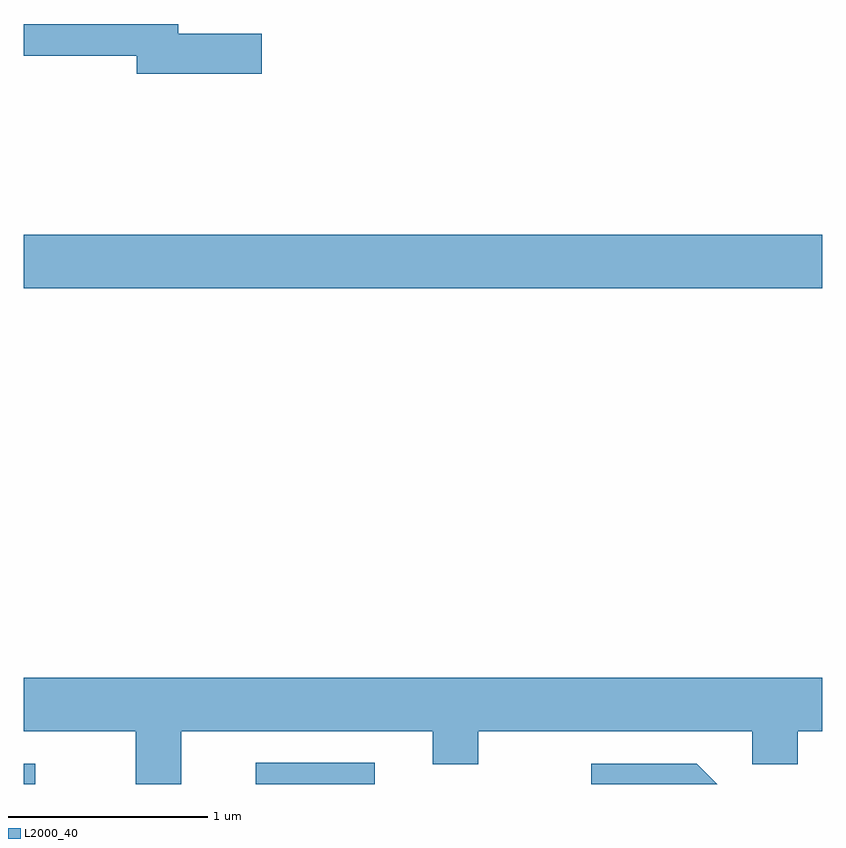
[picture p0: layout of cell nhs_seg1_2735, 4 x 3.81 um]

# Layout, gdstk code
import gdstk
lib = gdstk.Library(unit=1e-6, precision=1e-09)
def R(c, l, rs):  # rectangles x0, y0, x1, y1
    for r in rs: c.add(gdstk.rectangle(r[:2], r[2:], *l))
def P(c, l, *ps):  # polygons
    for p in ps: c.add(gdstk.Polygon(p, *l))
L2000_40 = (2000, 40)

nhs_seg1_2735 = lib.new_cell('nhs_seg1_2735')
R(nhs_seg1_2735, L2000_40, [(267.611,943.712,267.669,943.814), (268.773,943.712,269.369,943.819), (267.611,946.196,271.611,946.464)])
P(nhs_seg1_2735, L2000_40, [(268.804,947.469),(268.384,947.469),(268.384,947.519),(267.611,947.519),(267.611,947.361),(268.176,947.361),(268.176,947.271),(268.804,947.271)],
  [(268.399,943.976),(269.661,943.976),(269.661,943.811),(269.889,943.811),(269.889,943.976),(271.261,943.976),(271.261,943.811),(271.489,943.811),(271.489,943.976),(271.611,943.976),(271.611,944.244),(267.611,944.244),(267.611,943.976),(268.171,943.976),(268.171,943.712),(268.399,943.712)],
  [(270.982,943.814),(270.453,943.814),(270.453,943.712),(271.084,943.712)])

lib.write_gds('nhs_seg1_2735.gds')
